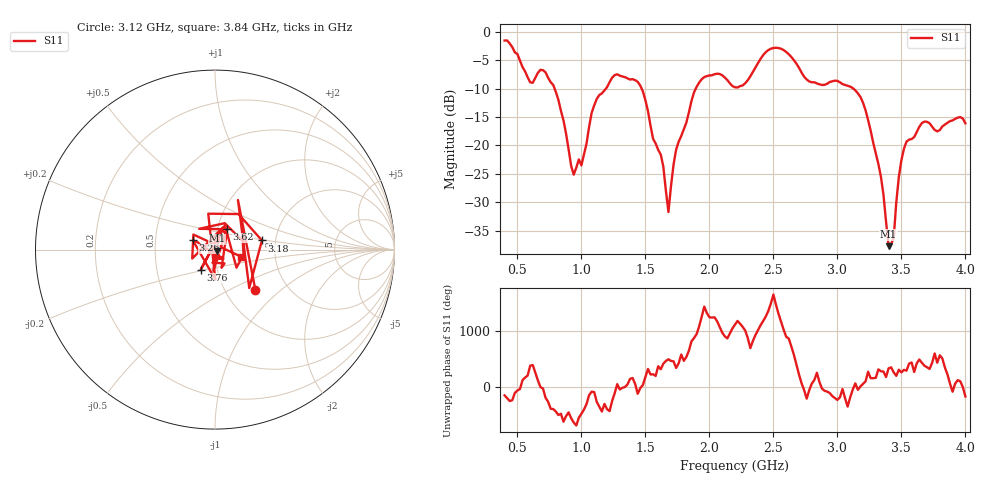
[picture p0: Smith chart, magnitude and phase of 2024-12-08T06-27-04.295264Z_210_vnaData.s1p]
!Created with skrf (http://scikit-rf.org).
# Hz S RI R 50.0
!freq ReS11 ImS11
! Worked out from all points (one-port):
!   181 points, 400 MHz to 4 GHz, reference 50 ohm
!   lowest |S11| = -37.7 dB at 3.4 GHz (marker M1), VSWR 1.03, Z = 51.1 - j0.651 ohm
!   |S11| at or under -10 dB: 790.3 MHz to 1.192 GHz (401.7 MHz wide, 40.5 % of centre); 1.47 GHz to 1.894 GHz (423.9 MHz wide, 25.2 % of centre); 3.124 GHz to end of sweep
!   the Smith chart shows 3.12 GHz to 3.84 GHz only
!   S11 on the Smith chart (normalised r, x): 3.12 GHz: 1.38, -0.69; 3.18 GHz: 1.70, +0.19; 3.26 GHz: 0.78, +0.08; 3.62 GHz: 1.11, +0.26; 3.76 GHz: 0.83, -0.19; 3.84 GHz: 1.34, -0.11
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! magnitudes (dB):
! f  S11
! 400 MHz  -1.6
! 600 MHz  -8.9
! 720 MHz  -7.2
! 860 MHz  -15.6
! 940 MHz  -25.2
! 1.12 GHz  -11.8
! 1.3 GHz  -7.7
! 1.48 GHz  -10.5
! 1.64 GHz  -23.7
! 1.68 GHz  -31.7
! 1.76 GHz  -19.3
! 1.94 GHz  -8.4
! 2.2 GHz  -9.8
! 2.48 GHz  -3.0
! 2.66 GHz  -5.0
! 3.1 GHz  -9.7
! 3.12 GHz  -9.9
! 3.18 GHz  -11.5
! 3.26 GHz  -17.4
! 3.34 GHz  -25.5
! 3.4 GHz  -37.7
! 3.44 GHz  -36.3
! 3.5 GHz  -22.6
! 3.56 GHz  -19.0
! 3.62 GHz  -17.7
! 3.76 GHz  -17.3
! 3.84 GHz  -16.3
! 4 GHz  -16.1
